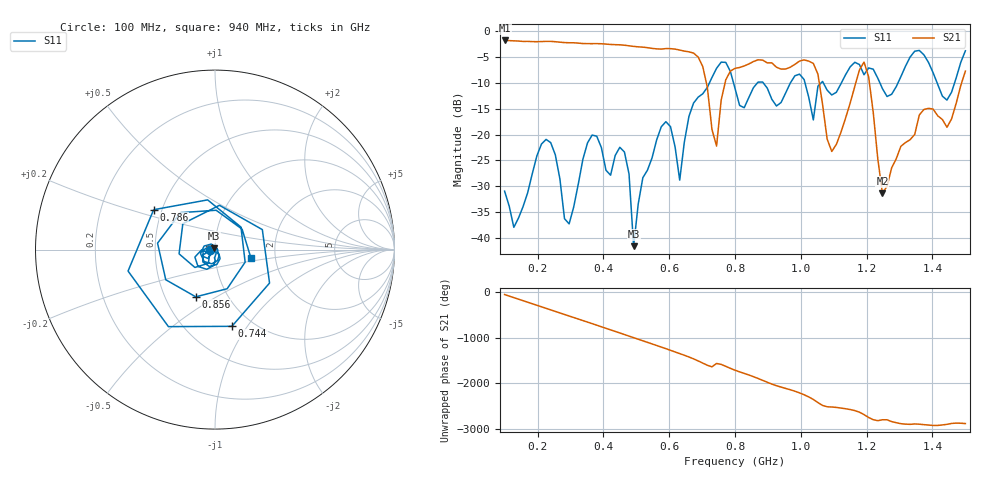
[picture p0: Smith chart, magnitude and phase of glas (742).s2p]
! NanoVNA-App
! Date: 2025-09-25 16:01:15
! Start: 100MHz Stop: 1,5GHz Points: 101
! S-Parameter data: F S11 S21 S12 S22
# Hz S RI R 50
!  Frequency  S11_Real  S11_Imag  S21_Real  S21_Imag  S12_Real  S12_Imag  S22_Real  S22_Imag
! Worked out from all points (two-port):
!   101 points, 100 MHz to 1.5 GHz, reference 50 ohm
!   highest |S21| = -1.80 dB at 100 MHz (marker M1); lowest = -31.3 dB at 1.248 GHz (marker M2)
!   |S21| within 3 dB of the highest: start of sweep to 684.4 MHz
!   lowest |S11| = -41.6 dB at 492 MHz (marker M3), VSWR 1.02, Z = 49.5 + j0.646 ohm
!   |S11| at or under -10 dB: start of sweep to 722.3 MHz; 795.5 MHz to 868.1 MHz (72.61 MHz wide, 8.73 % of centre); 885.9 MHz to 968.4 MHz (82.43 MHz wide, 8.89 % of centre) (the widest 3 of 7)
!   S12 and S22 are empty: the file has one direction only
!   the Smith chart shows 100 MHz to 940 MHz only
!   S11 on the Smith chart (normalised r, x): 100 MHz: 0.94, -0.01; 744 MHz: 0.81, -0.85; 786 MHz: 0.45, +0.24; 856 MHz: 0.71, -0.41; 940 MHz: 1.49, -0.14
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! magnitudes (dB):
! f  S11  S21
! 100 MHz  -30.9  -1.8
! 128 MHz  -37.9  -1.9
! 226 MHz  -20.9  -2.0
! 296 MHz  -37.2  -2.2
! 338 MHz  -24.7  -2.4
! 464 MHz  -23.4  -2.7
! 492 MHz  -41.6  -2.9
! 576 MHz  -18.5  -3.5
! 632 MHz  -28.8  -3.7
! 702 MHz  -12.1  -6.8
! 744 MHz  -7.2  -22.2
! 786 MHz  -7.8  -7.7
! 800 MHz  -11.1  -7.2
! 856 MHz  -10.9  -5.9
! 940 MHz  -13.8  -7.3
! 1.038 GHz  -17.2  -6.2
! 1.094 GHz  -12.3  -23.3
! 1.192 GHz  -8.4  -6.0
! 1.248 GHz  -11.1  -31.3
! 1.276 GHz  -12.2  -26.4
! 1.444 GHz  -13.3  -18.6
! 1.5 GHz  -3.8  -7.7
